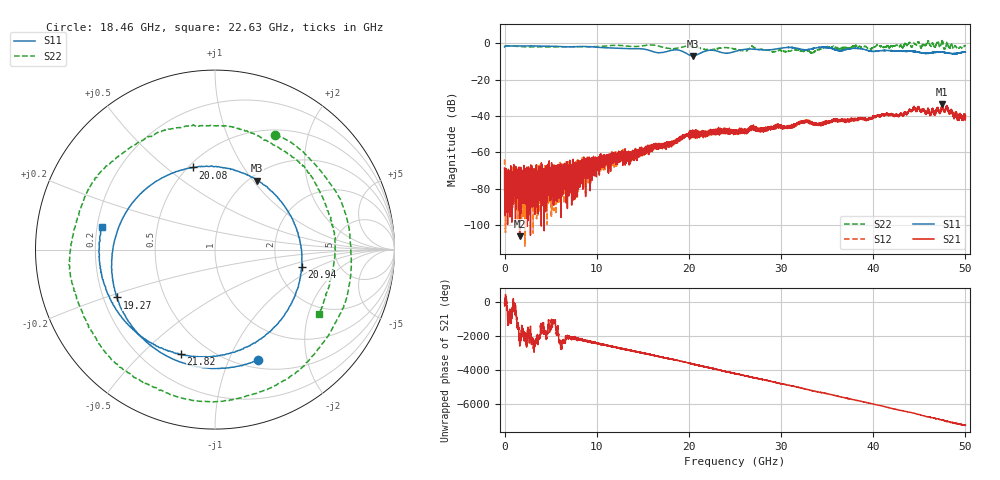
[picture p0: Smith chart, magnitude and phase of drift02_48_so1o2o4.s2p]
!Created with skrf (http://scikit-rf.org).
# Hz S RI R 50.0
!freq ReS11 ImS11 ReS21 ImS21 ReS12 ImS12 ReS22 ImS22
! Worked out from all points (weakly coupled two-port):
!   10001 points, 300 kHz to 50 GHz, reference 50 ohm
!   highest |S21| = -33.48 dB at 47.49 GHz (marker M1); lowest = -106.3 dB at 1.635 GHz (marker M2)
!   lowest |S11| = -6.9 dB at 20.41 GHz (marker M3), VSWR 2.64, Z = 54.3 + j52.4 ohm
!   |S11| at or under -10 dB: nowhere
!   |S22| runs from -5.4 to 1.6 dB; largest |S21 - S12| = 0.0032
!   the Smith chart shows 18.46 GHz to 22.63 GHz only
!   S11 on the Smith chart (normalised r, x): 18.46 GHz: 0.59, -1.28; 19.27 GHz: 0.26, -0.22; 20.08 GHz: 0.53, +0.62; 20.94 GHz: 2.74, -0.71; 21.82 GHz: 0.35, -0.66; 22.63 GHz: 0.22, +0.09
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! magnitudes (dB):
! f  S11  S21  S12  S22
! 300 kHz  -2.1  -68.6  -63.8  -1.3
! 280.3 MHz  -1.4  -74.2  -79.7  -1.4
! 1.635 GHz  -1.4  -106.3  -81.1  -1.8
! 4.39 GHz  -1.6  -74.9  -74.4  -2.0
! 6.36 GHz  -1.9  -78.1  -70.4  -1.9
! 8.335 GHz  -1.7  -76.1  -68.3  -1.9
! 16.67 GHz  -5.2  -56.4  -57.9  -1.5
! 18.46 GHz  -3.6  -54.5  -54.5  -2.8
! 19.27 GHz  -4.3  -51.7  -52.1  -2.1
! 20.08 GHz  -6.5  -52.9  -49.8  -1.5
! 20.41 GHz  -6.9  -48.6  -49.2  -1.7
! 20.94 GHz  -6.1  -50.3  -51.3  -2.2
! 21.82 GHz  -4.2  -48.2  -50.9  -3.5
! 22.63 GHz  -3.8  -48.3  -48.3  -3.3
! 25 GHz  -4.5  -48.1  -49.0  -3.2
! 26.11 GHz  -3.3  -47.5  -49.2  -4.3
! 26.91 GHz  -3.2  -45.5  -47.1  -1.6
! 33.34 GHz  -3.0  -44.0  -43.5  -5.1
! 34.89 GHz  -2.3  -43.1  -43.0  -2.2
! 41.67 GHz  -3.9  -39.7  -39.3  -2.2
! 47.49 GHz  -4.8  -33.5  -34.2  1.4
! 50 GHz  -4.8  -40.1  -39.5  -1.6
